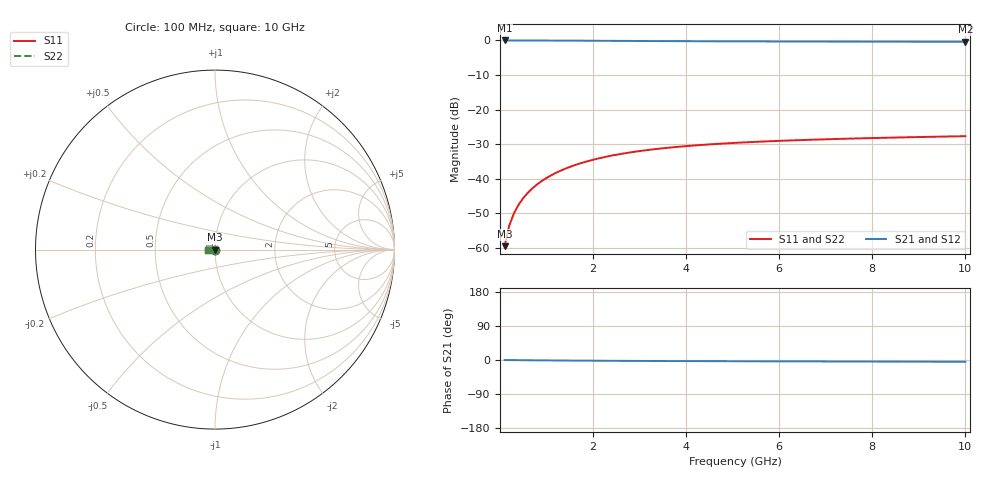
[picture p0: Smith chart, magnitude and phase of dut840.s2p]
! Touchstone file exported from HFSS 2024.1.0
!  File:  C:/UserFiles/LocalFiles/RDL_TSV_Batchsim/temp_TSV1_840_1779879978.aedt
!  Generated:  07:13:15 PM May 27, 2026
!  Design:  TSV1
!  Project:  temp_TSV1_840_1779879978
!  Setup:  Setup1
!  Solution:  Sweep
! Variables:
!  dtsv = 9.3um
!  hbump = 3um
!  htsv = 73.57um
!  lrdl = 252.1521522um
!  p = 40
!  p1 = 45.92um
!  t = 500um
!  trdl = 3um
!  wrdl = 24.89489489um
# GHz S MA R 50.000000
! Terminal data exported
! Port[1] = TSV22_T1
! Port[2] = TSV22_T2
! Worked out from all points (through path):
!   100 points, 100 MHz to 10 GHz, reference 50 ohm
!   highest |S21| = 0.00 dB at 100 MHz (marker M1); lowest = -0.4 dB at 10 GHz (marker M2)
!   lowest |S11| = -59.5 dB at 100 MHz (marker M3), VSWR 1.00, Z = 50 - j0.105 ohm
!   |S11| at or under -10 dB: start of sweep to end of sweep
!   |S22| runs from -59.5 to -27.7 dB; largest |S21 - S12| = 5.7e-15
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0.1  0.001062 -83.0  0.9998 -0.1  0.9998 -0.1  0.001062 -83.0
! Gamma 0 0 0 0
! Port Impedance 50 0 50 0
0.2  0.002111 -88.8  0.9997 -0.2  0.9997 -0.2  0.002111 -88.8
0.3  0.003164 -91.9  0.9995 -0.3  0.9995 -0.3  0.003164 -91.9
0.4  0.004214 -94.4  0.9993 -0.4  0.9993 -0.4  0.004214 -94.4
0.5  0.005257 -96.5  0.999 -0.5  0.999 -0.5  0.005257 -96.5
0.6  0.006289 -98.5  0.9986 -0.6  0.9986 -0.6  0.006289 -98.5
0.7  0.007309 -100.4  0.9982 -0.7  0.9982 -0.7  0.007309 -100.4
0.8  0.008315 -102.3  0.9978 -0.8  0.9978 -0.8  0.008315 -102.3
0.9  0.009304 -104.0  0.9973 -0.9  0.9973 -0.9  0.009304 -104.0
1.1  0.01123 -107.5  0.9962 -1.1  0.9962 -1.1  0.01123 -107.5
1.4  0.01397 -112.4  0.9942 -1.4  0.9942 -1.4  0.01397 -112.4
1.6  0.01569 -115.5  0.9928 -1.6  0.9928 -1.6  0.01569 -115.5
1.8  0.01731 -118.5  0.9913 -1.7  0.9913 -1.7  0.01731 -118.5
2.1  0.01958 -122.7  0.989 -1.9  0.989 -1.9  0.01958 -122.7
2.5  0.02228 -128.0  0.9858 -2.2  0.9858 -2.2  0.02228 -128.0
2.9  0.02464 -132.8  0.9828 -2.4  0.9828 -2.4  0.02464 -132.8
3.4  0.02717 -138.3  0.9792 -2.7  0.9792 -2.7  0.02717 -138.3
4.2  0.03042 -146.0  0.9743 -3.0  0.9743 -3.0  0.03042 -146.0
5.1  0.0332 -153.3  0.9697 -3.3  0.9697 -3.3  0.0332 -153.3
6.7  0.03673 -163.8  0.9638 -3.8  0.9638 -3.8  0.03673 -163.8
8.4  0.03937 -172.7  0.9596 -4.3  0.9596 -4.3  0.03937 -172.7
10  0.04133 -179.7  0.9568 -4.7  0.9568 -4.7  0.04133 -179.7
